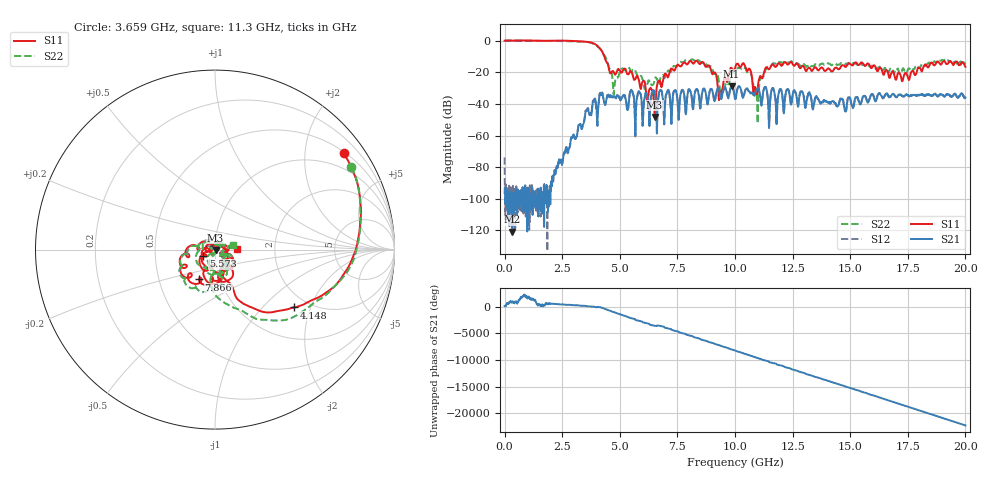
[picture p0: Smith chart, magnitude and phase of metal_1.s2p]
#  HZ  S  RI  R  50.00
! Rohde & Schwarz Vector Network Analyzer
! Rohde-Schwarz,ZNB20-2Port,1311601062102128,3.60
! Created: UTC 4/29/2024, 2:40:13 PM
! freq[Hz]  re:S11  im:S11  re:S21  im:S21  re:S12  im:S12  re:S22  im:S22
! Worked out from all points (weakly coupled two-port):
!   2007 points, 100 kHz to 20 GHz, reference 50 ohm
!   highest |S21| = -28.84 dB at 9.85 GHz (marker M1); lowest = -120.8 dB at 339.1 MHz (marker M2)
!   lowest |S11| = -48.3 dB at 6.511 GHz (marker M3), VSWR 1.01, Z = 50.3 - j0.189 ohm
!   |S11| at or under -10 dB: 4.324 GHz to end of sweep
!   |S22| runs from -52.4 to 0.1 dB; largest |S21 - S12| = 0.0017
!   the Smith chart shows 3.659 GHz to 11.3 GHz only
!   S11 on the Smith chart (normalised r, x): 3.659 GHz: 0.53, +2.92; 4.148 GHz: 1.69, -1.56; 5.573 GHz: 0.88, -0.06; 7.866 GHz: 0.79, -0.27; 11.3 GHz: 1.27, +0.01
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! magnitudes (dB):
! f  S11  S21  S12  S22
! 100 kHz  0.0  -96.3  -73.8  0.1
! 339.1 MHz  0.0  -120.8  -97.2  0.0
! 2.223 GHz  -0.1  -82.1  -82.1  -0.3
! 3.34 GHz  -0.6  -55.8  -55.4  -0.6
! 3.659 GHz  -0.9  -45.5  -45.5  -1.0
! 4.148 GHz  -5.2  -33.4  -33.0  -5.1
! 4.756 GHz  -20.5  -35.7  -35.8  -30.3
! 5.573 GHz  -22.6  -33.9  -33.9  -18.5
! 6.511 GHz  -48.3  -32.9  -33.0  -25.0
! 6.67 GHz  -25.8  -36.3  -36.2  -26.9
! 7.866 GHz  -14.5  -46.5  -46.8  -12.2
! 8.863 GHz  -15.7  -35.2  -35.2  -16.6
! 9.362 GHz  -33.0  -35.4  -35.5  -32.9
! 9.85 GHz  -17.3  -28.8  -28.9  -20.4
! 10 GHz  -17.4  -36.7  -36.7  -20.4
! 10.65 GHz  -18.2  -32.7  -32.8  -20.8
! 10.93 GHz  -32.0  -30.9  -30.9  -33.0
! 11.3 GHz  -18.4  -29.4  -29.4  -19.5
! 11.48 GHz  -18.1  -55.2  -54.9  -17.0
! 13.34 GHz  -19.2  -39.7  -39.7  -16.0
! 16.67 GHz  -22.2  -35.4  -35.4  -20.3
! 20 GHz  -16.5  -35.9  -35.9  -13.9
